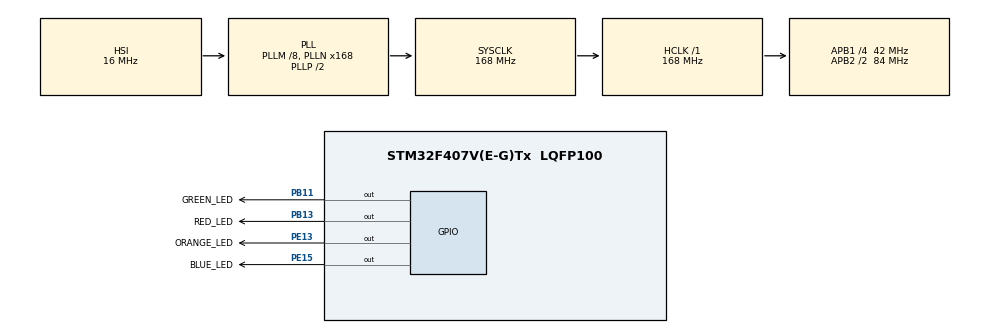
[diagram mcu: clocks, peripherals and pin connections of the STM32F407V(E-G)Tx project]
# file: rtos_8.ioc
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FREERTOS.BinarySemaphores01=CriticalResourceSemaphore,Dynamic,NULL,Available
FREERTOS.Tasks01=defaultTask,24,128,StartDefaultTask,Default,NULL,Dynamic,NULL,NULL;GreenLedTask,8,128,FlashGreenLedTask,Default,NULL,Dynamic,NULL,NULL;RedLedTask,8,128,FlashRedLedTask,Default,NULL,Dynamic,NULL,NULL;orangeLedTask,32,128,FlashOrangeLedTask,Default,NULL,Dynamic,NULL,NULL
Mcu.Family=STM32F4
Mcu.Name=STM32F407V(E-G)Tx
Mcu.Package=LQFP100
NVIC.PriorityGroup=NVIC_PRIORITYGROUP_4
NVIC.TIM1_UP_TIM10_IRQn=true\:15\:0\:false\:false\:true\:false\:false\:true\:true
NVIC.TimeBase=TIM1_UP_TIM10_IRQn
NVIC.TimeBaseIP=TIM1
PA13.Mode=Serial_Wire
PA13.Signal=SYS_JTMS-SWDIO
PA14.Mode=Serial_Wire
PA14.Signal=SYS_JTCK-SWCLK
PB11.GPIO_Label=GREEN_LED
PB11.Signal=GPIO_Output
PB13.GPIO_Label=RED_LED
PB13.Signal=GPIO_Output
PE13.GPIO_Label=ORANGE_LED
PE13.Signal=GPIO_Output
PE15.GPIO_Label=BLUE_LED
PE15.Signal=GPIO_Output
ProjectManager.HeapSize=0x200
ProjectManager.StackSize=0x400
ProjectManager.TargetToolchain=STM32CubeIDE
RCC.48MHZClocksFreq_Value=84000000
RCC.AHBFreq_Value=168000000
RCC.APB1CLKDivider=RCC_HCLK_DIV4
RCC.APB1Freq_Value=42000000
RCC.APB1TimFreq_Value=84000000
RCC.APB2CLKDivider=RCC_HCLK_DIV2
RCC.APB2Freq_Value=84000000
RCC.APB2TimFreq_Value=168000000
RCC.CortexFreq_Value=168000000
RCC.HCLKFreq_Value=168000000
RCC.HSE_VALUE=25000000
RCC.HSI_VALUE=16000000
RCC.LSE_VALUE=32768
RCC.PLLM=8
RCC.PLLN=168
RCC.SYSCLKFreq_VALUE=168000000
RCC.SYSCLKSource=RCC_SYSCLKSOURCE_PLLCLK
RCC.VCOOutputFreq_Value=336000000
VP_FREERTOS_VS_CMSIS_V2.Mode=CMSIS_V2
VP_SYS_VS_tim1.Mode=TIM1
board=custom

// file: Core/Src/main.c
/* USER CODE BEGIN Header */
/**
  ******************************************************************************
  * @file           : main.c
  * @brief          : Main program body
  ******************************************************************************
  * @attention
  *
  * Copyright (c) 2024 STMicroelectronics.
  * All rights reserved.
  *
  * This software is licensed under terms that can be found in the LICENSE file
  * in the root directory of this software component.
  * If no LICENSE file comes with this software, it is provided AS-IS.
  *
  ******************************************************************************
  */
/* USER CODE END Header */
#include "main.h"
#include "cmsis_os.h"

/* USER CODE BEGIN PD */
static volatile uint8_t startFlag = 1;  // 1 = Up, 0 = Down
#define WaitTimeMilliseconds 0
/* USER CODE END PD */

/* Definitions for defaultTask */
osThreadId_t defaultTaskHandle;
const osThreadAttr_t defaultTask_attributes = {
  .name = "defaultTask",
  .stack_size = 128 * 4,
  .priority = (osPriority_t) osPriorityNormal,
};
/* Definitions for GreenLedTask */
osThreadId_t GreenLedTaskHandle;
const osThreadAttr_t GreenLedTask_attributes = {
  .name = "GreenLedTask",
  .stack_size = 128 * 4,
  .priority = (osPriority_t) osPriorityLow,
};
/* Definitions for RedLedTask */
osThreadId_t RedLedTaskHandle;
const osThreadAttr_t RedLedTask_attributes = {
  .name = "RedLedTask",
  .stack_size = 128 * 4,
  .priority = (osPriority_t) osPriorityLow,
};
/* Definitions for orangeLedTask */
osThreadId_t orangeLedTaskHandle;
const osThreadAttr_t orangeLedTask_attributes = {
  .name = "orangeLedTask",
  .stack_size = 128 * 4,
  .priority = (osPriority_t) osPriorityAboveNormal,
};
/* Definitions for CriticalResourceSemaphore */
osSemaphoreId_t CriticalResourceSemaphoreHandle;
const osSemaphoreAttr_t CriticalResourceSemaphore_attributes = {
  .name = "CriticalResourceSemaphore"
};

void SystemClock_Config(void);
static void MX_GPIO_Init(void);
void StartDefaultTask(void *argument);
void FlashGreenLedTask(void *argument);
void FlashRedLedTask(void *argument);
void FlashOrangeLedTask(void *argument);

int main(void)
{

  /* MCU Configuration--------------------------------------------------------*/

  /* Reset of all peripherals, Initializes the Flash interface and the Systick. */
  HAL_Init();

  /* Configure the system clock */
  SystemClock_Config();

  /* Initialize all configured peripherals */
  MX_GPIO_Init();
  /* USER CODE BEGIN 2 */
  HAL_GPIO_WritePin(ORANGE_LED_GPIO_Port, ORANGE_LED_Pin, 1);
  HAL_GPIO_WritePin(RED_LED_GPIO_Port, RED_LED_Pin, 1);
  HAL_GPIO_WritePin(GREEN_LED_GPIO_Port, GREEN_LED_Pin, 1);
  HAL_GPIO_WritePin(BLUE_LED_GPIO_Port, BLUE_LED_Pin, 1);

  /* USER CODE END 2 */

  /* Init scheduler */
  osKernelInitialize();

  /* Create the semaphores(s) */
  /* creation of CriticalResourceSemaphore */
  CriticalResourceSemaphoreHandle = osSemaphoreNew(1, 1, &CriticalResourceSemaphore_attributes);

  /* Create the thread(s) */
  /* creation of defaultTask */
  defaultTaskHandle = osThreadNew(StartDefaultTask, NULL, &defaultTask_attributes);

  /* creation of GreenLedTask */
  GreenLedTaskHandle = osThreadNew(FlashGreenLedTask, NULL, &GreenLedTask_attributes);

  /* creation of RedLedTask */
  RedLedTaskHandle = osThreadNew(FlashRedLedTask, NULL, &RedLedTask_attributes);

  /* creation of orangeLedTask */
  orangeLedTaskHandle = osThreadNew(FlashOrangeLedTask, NULL, &orangeLedTask_attributes);

  /* Start scheduler */
  osKernelStart();

  /* We should never get here as control is now taken by the scheduler */

  /* Infinite loop */
  while (1)
  {

  }
}

void SystemClock_Config(void)
{
  RCC_OscInitTypeDef RCC_OscInitStruct = {0};
  RCC_ClkInitTypeDef RCC_ClkInitStruct = {0};

  /** Configure the main internal regulator output voltage
  */
  __HAL_RCC_PWR_CLK_ENABLE();
  __HAL_PWR_VOLTAGESCALING_CONFIG(PWR_REGULATOR_VOLTAGE_SCALE1);

  /** Initializes the RCC Oscillators according to the specified parameters
  * in the RCC_OscInitTypeDef structure.
  */
  RCC_OscInitStruct.OscillatorType = RCC_OSCILLATORTYPE_HSI;
  RCC_OscInitStruct.HSIState = RCC_HSI_ON;
  RCC_OscInitStruct.HSICalibrationValue = RCC_HSICALIBRATION_DEFAULT;
  RCC_OscInitStruct.PLL.PLLState = RCC_PLL_ON;
  RCC_OscInitStruct.PLL.PLLSource = RCC_PLLSOURCE_HSI;
  RCC_OscInitStruct.PLL.PLLM = 8;
  RCC_OscInitStruct.PLL.PLLN = 168;
  RCC_OscInitStruct.PLL.PLLP = RCC_PLLP_DIV2;
  RCC_OscInitStruct.PLL.PLLQ = 4;
  if (HAL_RCC_OscConfig(&RCC_OscInitStruct) != HAL_OK)
  {
    Error_Handler();
  }

  /** Initializes the CPU, AHB and APB buses clocks
  */
  RCC_ClkInitStruct.ClockType = RCC_CLOCKTYPE_HCLK|RCC_CLOCKTYPE_SYSCLK
                              |RCC_CLOCKTYPE_PCLK1|RCC_CLOCKTYPE_PCLK2;
  RCC_ClkInitStruct.SYSCLKSource = RCC_SYSCLKSOURCE_PLLCLK;
  RCC_ClkInitStruct.AHBCLKDivider = RCC_SYSCLK_DIV1;
  RCC_ClkInitStruct.APB1CLKDivider = RCC_HCLK_DIV4;
  RCC_ClkInitStruct.APB2CLKDivider = RCC_HCLK_DIV2;

  if (HAL_RCC_ClockConfig(&RCC_ClkInitStruct, FLASH_LATENCY_5) != HAL_OK)
  {
    Error_Handler();
  }
}

static void MX_GPIO_Init(void)
{
  GPIO_InitTypeDef GPIO_InitStruct = {0};

  /* GPIO Ports Clock Enable */
  __HAL_RCC_GPIOE_CLK_ENABLE();
  __HAL_RCC_GPIOB_CLK_ENABLE();
  __HAL_RCC_GPIOA_CLK_ENABLE();

  /*Configure GPIO pin Output Level */
  HAL_GPIO_WritePin(GPIOE, ORANGE_LED_Pin|BLUE_LED_Pin, GPIO_PIN_RESET);

  /*Configure GPIO pin Output Level */
  HAL_GPIO_WritePin(GPIOB, GREEN_LED_Pin|RED_LED_Pin, GPIO_PIN_RESET);

  /*Configure GPIO pins : ORANGE_LED_Pin BLUE_LED_Pin */
  GPIO_InitStruct.Pin = ORANGE_LED_Pin|BLUE_LED_Pin;
  GPIO_InitStruct.Mode = GPIO_MODE_OUTPUT_PP;
  GPIO_InitStruct.Pull = GPIO_NOPULL;
  GPIO_InitStruct.Speed = GPIO_SPEED_FREQ_LOW;
  HAL_GPIO_Init(GPIOE, &GPIO_InitStruct);

  /*Configure GPIO pins : GREEN_LED_Pin RED_LED_Pin */
  GPIO_InitStruct.Pin = GREEN_LED_Pin|RED_LED_Pin;
  GPIO_InitStruct.Mode = GPIO_MODE_OUTPUT_PP;
  GPIO_InitStruct.Pull = GPIO_NOPULL;
  GPIO_InitStruct.Speed = GPIO_SPEED_FREQ_LOW;
  HAL_GPIO_Init(GPIOB, &GPIO_InitStruct);

}

/* USER CODE BEGIN 4 */
void AccessSharedData(void){
    if (startFlag == 1) {
        HAL_GPIO_WritePin(BLUE_LED_GPIO_Port, BLUE_LED_Pin, GPIO_PIN_SET);
        /* Resource is available */
        startFlag = 0;  // Set flag Down
        osDelay(1000);  // 1s delay
        startFlag = 1;  // Set flag Up
    } else if (startFlag == 0){
        /* Resource contention detected - turn on Blue LED */
        HAL_GPIO_WritePin(BLUE_LED_GPIO_Port, BLUE_LED_Pin, GPIO_PIN_RESET);
    }
}
/* USER CODE END 4 */

void StartDefaultTask(void *argument)
{
  for(;;)
  {
    osDelay(1);
  }
}

void FlashGreenLedTask(void *argument)
{
  /* USER CODE BEGIN FlashGreenLedTask */
//	osDelay(osWaitForever);
  /* Infinite loop */
  for(;;)
  {
    HAL_GPIO_WritePin(RED_LED_GPIO_Port, RED_LED_Pin, GPIO_PIN_RESET);
    osSemaphoreWait(CriticalResourceSemaphoreHandle,WaitTimeMilliseconds);
    AccessSharedData();
    osSemaphoreRelease(CriticalResourceSemaphoreHandle);
    osDelay(200);
    HAL_GPIO_WritePin(RED_LED_GPIO_Port, RED_LED_Pin, GPIO_PIN_SET);
    osDelay(200);
  }
  /* USER CODE END FlashGreenLedTask */
}

void FlashRedLedTask(void *argument)
{
  /* USER CODE BEGIN FlashRedLedTask */
//	osDelay(osWaitForever);
  /* Infinite loop */
  for(;;)
  {
    HAL_GPIO_WritePin(GREEN_LED_GPIO_Port, GREEN_LED_Pin, GPIO_PIN_RESET);
    osSemaphoreWait(CriticalResourceSemaphoreHandle,WaitTimeMilliseconds);
    AccessSharedData();
    osSemaphoreRelease(CriticalResourceSemaphoreHandle);
    osDelay(550);
    HAL_GPIO_WritePin(GREEN_LED_GPIO_Port, GREEN_LED_Pin, GPIO_PIN_SET);
    osDelay(550);
  }
  /* USER CODE END FlashRedLedTask */
}

void FlashOrangeLedTask(void *argument)
{
  /* USER CODE BEGIN FlashOrangeLedTask */
//	osDelay(osWaitForever);
  /* Infinite loop */
  for(;;)
  {
	  HAL_GPIO_TogglePin(ORANGE_LED_GPIO_Port, ORANGE_LED_Pin);
	  osDelay(50);
  }
  /* USER CODE END FlashOrangeLedTask */
}

void HAL_TIM_PeriodElapsedCallback(TIM_HandleTypeDef *htim)
{
  if (htim->Instance == TIM1) {
    HAL_IncTick();
  }
}

void Error_Handler(void)
{
  __disable_irq();
  while (1)
  {
  }
}
